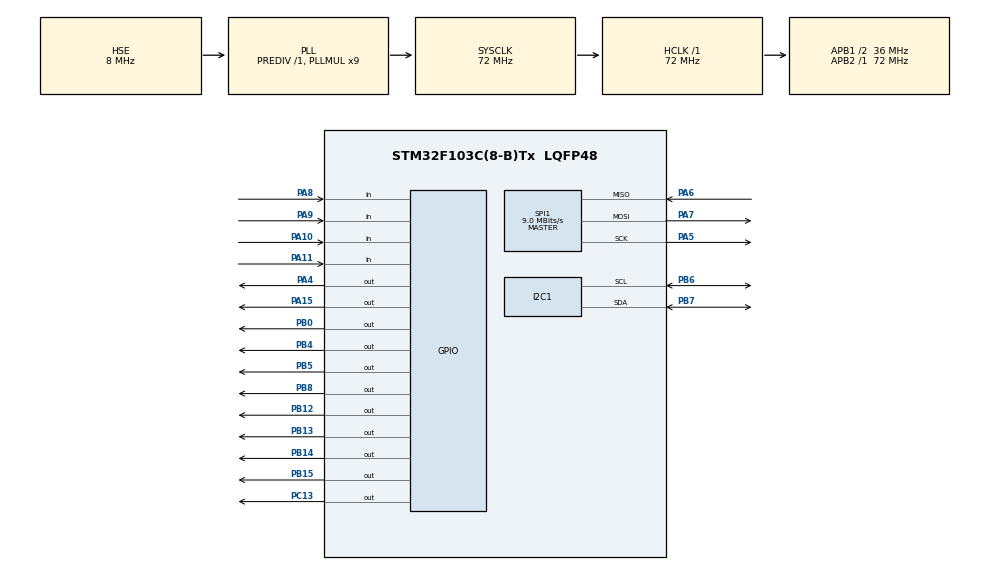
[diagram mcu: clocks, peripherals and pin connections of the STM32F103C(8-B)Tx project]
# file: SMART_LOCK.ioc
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I2C1.I2C_Mode=I2C_Fast
Mcu.Family=STM32F1
Mcu.Name=STM32F103C(8-B)Tx
Mcu.Package=LQFP48
NVIC.PriorityGroup=NVIC_PRIORITYGROUP_4
PA10.GPIO_PuPd=GPIO_PULLDOWN
PA10.Signal=GPIO_Input
PA11.GPIO_PuPd=GPIO_PULLDOWN
PA11.Signal=GPIO_Input
PA13.Mode=Serial_Wire
PA13.Signal=SYS_JTMS-SWDIO
PA14.Mode=Serial_Wire
PA14.Signal=SYS_JTCK-SWCLK
PA15.Signal=GPIO_Output
PA4.Signal=GPIO_Output
PA5.Mode=Full_Duplex_Master
PA5.Signal=SPI1_SCK
PA6.Mode=Full_Duplex_Master
PA6.Signal=SPI1_MISO
PA7.Mode=Full_Duplex_Master
PA7.Signal=SPI1_MOSI
PA8.GPIO_PuPd=GPIO_PULLDOWN
PA8.Signal=GPIO_Input
PA9.GPIO_PuPd=GPIO_PULLDOWN
PA9.Signal=GPIO_Input
PB0.Signal=GPIO_Output
PB12.Signal=GPIO_Output
PB13.Signal=GPIO_Output
PB14.Signal=GPIO_Output
PB15.Signal=GPIO_Output
PB4.Signal=GPIO_Output
PB5.Signal=GPIO_Output
PB6.Mode=I2C
PB6.Signal=I2C1_SCL
PB7.Mode=I2C
PB7.Signal=I2C1_SDA
PB8.Signal=GPIO_Output
PC13-TAMPER-RTC.Signal=GPIO_Output
PD0-OSC_IN.Mode=HSE-External-Oscillator
PD0-OSC_IN.Signal=RCC_OSC_IN
PD1-OSC_OUT.Mode=HSE-External-Oscillator
PD1-OSC_OUT.Signal=RCC_OSC_OUT
ProjectManager.HeapSize=0x200
ProjectManager.StackSize=0x400
ProjectManager.TargetToolchain=STM32CubeIDE
RCC.AHBFreq_Value=72000000
RCC.APB1CLKDivider=RCC_HCLK_DIV2
RCC.APB1Freq_Value=36000000
RCC.APB1TimFreq_Value=72000000
RCC.APB2Freq_Value=72000000
RCC.APB2TimFreq_Value=72000000
RCC.HCLKFreq_Value=72000000
RCC.PLLMUL=RCC_PLL_MUL9
RCC.PLLSourceVirtual=RCC_PLLSOURCE_HSE
RCC.SYSCLKFreq_VALUE=72000000
RCC.SYSCLKSource=RCC_SYSCLKSOURCE_PLLCLK
RCC.USBFreq_Value=72000000
SPI1.BaudRatePrescaler=SPI_BAUDRATEPRESCALER_8
SPI1.CalculateBaudRate=9.0 MBits/s
SPI1.Direction=SPI_DIRECTION_2LINES
SPI1.Mode=SPI_MODE_MASTER
SPI1.VirtualType=VM_MASTER
board=custom

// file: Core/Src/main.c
#include "main.h"

/* USER CODE BEGIN Includes */
#include "SH1106.h"
#include "fonts.h"
#include "stdio.h"
#include "bitmap.h"
#include "rcc522.h"
#include "string.h"

I2C_HandleTypeDef hi2c1;

SPI_HandleTypeDef hspi1;

/* USER CODE BEGIN PV */
uint8_t status;
uint8_t str[MAX_LEN]; // Max_LEN = 16
uint8_t sNum[5];
volatile uint32_t systickCounter = 0;
volatile uint8_t rfidDetected = 0; // 0: không có thẻ, 1: có thẻ

// Các phím trên bàn phím
char keypad[4][4] = {
    {'1', '2', '3', 'A'},
    {'4', '5', '6', 'B'},
    {'7', '8', '9', 'C'},
    {'E', '0', 'F', 'D'}
};

char key;
char enteredPassword[8] = {0};
char correctPassword[8] = "1234567";
int user = 0;

// Các chân hàng và cột của bàn phím
GPIO_TypeDef* rowPorts[4] = {GPIOB, GPIOB, GPIOB, GPIOB};
uint16_t rowPins[4] = {GPIO_PIN_15, GPIO_PIN_14, GPIO_PIN_13, GPIO_PIN_12};
GPIO_TypeDef* colPorts[4] = {GPIOA, GPIOA, GPIOA, GPIOA};
uint16_t colPins[4] = {GPIO_PIN_8, GPIO_PIN_9, GPIO_PIN_10, GPIO_PIN_11};

//Khai báo máy trạng thái
   typedef enum {Do_RFID, Do_Keypad, Idle_State} ChooseState_t;
   static ChooseState_t ChooseState = Idle_State;

/* USER CODE END PV */

void SystemClock_Config(void);
static void MX_GPIO_Init(void);
static void MX_I2C1_Init(void);
static void MX_SPI1_Init(void);
void SysTick_Init(void);
char Keypad_Scan(void);
void CheckRFID(void);
void ChooseStateMachineUpdate(void);
void SysTick_Start(void);

int main(void)
{

  /* MCU Configuration--------------------------------------------------------*/

  /* Reset of all peripherals, Initializes the Flash interface and the Systick. */
  HAL_Init();

  /* Configure the system clock */
  SystemClock_Config();

  /* USER CODE BEGIN SysInit */
  SysTick_Init();

  /* USER CODE END SysInit */

  /* Initialize all configured peripherals */
  MX_GPIO_Init();
  MX_I2C1_Init();
  MX_SPI1_Init();
  /* USER CODE BEGIN 2 */
  MFRC522_Init();
  SH1106_Init();

  /* USER CODE END 2 */

  /* Infinite loop */
  while (1)
  {
	  ChooseStateMachineUpdate();
  }
}

void CheckRFID(void) {
    uchar TagType[2];
    if (MFRC522_Request(PICC_REQIDL, TagType) == MI_OK) {
        rfidDetected = 1; // Có thẻ trong phạm vi
    } else {
        rfidDetected = 0; // Không có thẻ
    }
}

//Hàm xây dựng ngắt systick
void SysTick_Init(void)
{
    // Tính giá trị LOAD cho 1ms
    uint32_t ticks = SystemCoreClock / 1000; // 1ms
    if (ticks > SysTick_LOAD_RELOAD_Msk)
    {
        // Giá trị LOAD không hợp lệ
        Error_Handler();
    }

    // Ghi giá trị vào thanh ghi LOAD
    SysTick->LOAD = ticks - 1;

    // Reset giá trị hiện tại của bộ đếm
    SysTick->VAL = 0;

    // Cấu hình SysTick: nguồn clock, bật ngắt, và kích hoạt
    SysTick->CTRL = SysTick_CTRL_CLKSOURCE_Msk | // Sử dụng clock hệ thống
                    SysTick_CTRL_TICKINT_Msk;  // Bật ngắt SysTick
}

void SysTick_Start(void)
{
    // Kích hoạt bộ đếm SysTick
    SysTick->CTRL |= SysTick_CTRL_ENABLE_Msk;  // Bật bộ đếm SysTick
}

// Hàm xử lý ngắt SysTick (được gọi mỗi 1ms)
void SysTick_Handler(void)
{
    // Xử lý công việc cần thực hiện trong ngắt SysTick
    // Ví dụ: tăng biến đếm thời gian
    systickCounter++;
}

void ChooseStateMachineUpdate(void)
{
	switch (ChooseState)
	{
	case Do_RFID:
		  status = MFRC522_Request(PICC_REQIDL, str);
		  status = MFRC522_Anticoll(str);
		  memcpy(sNum, str, 5);
		  HAL_Delay(100);
		  if((str[0]==147) && (str[1]==32) && (str[2]==210) && (str[3]==38) && (str[4]==212) )
		   {
			 HAL_GPIO_WritePin(GPIOB, GPIO_PIN_5, SET);
			 systickCounter = 0;
			 HAL_GPIO_WritePin(GPIOA, GPIO_PIN_15, RESET); //LED xanh báo thẻ đúng
             SH1106_Fill(SH1106_COLOR_BLACK);
             SH1106_GotoXY(10, 10);
             SH1106_Puts("Card Valid!", &Font_11x18, SH1106_COLOR_WHITE);
             SH1106_UpdateScreen();
             HAL_Delay(1000);
		     HAL_GPIO_WritePin(GPIOA, GPIO_PIN_15, SET);
		     }
		   else if((str[0]==147) && (str[1]==32) && (str[2]==115) && (str[3]==110) && (str[4]==207) )
		    {
			 HAL_GPIO_WritePin(GPIOB, GPIO_PIN_5, SET);
			 systickCounter = 0;
			 HAL_GPIO_WritePin(GPIOA, GPIO_PIN_15, RESET); //LED xanh báo thẻ đúng
             SH1106_Fill(SH1106_COLOR_BLACK);
             SH1106_GotoXY(10, 10);
             SH1106_Puts("Card is Valid!", &Font_11x18, SH1106_COLOR_WHITE);
             SH1106_UpdateScreen();
		     HAL_Delay(1000);
		     HAL_GPIO_WritePin(GPIOA, GPIO_PIN_15, SET);
		   }
		   else if (rfidDetected)
		   {
			 HAL_GPIO_WritePin(GPIOB, GPIO_PIN_5, SET);
		     HAL_GPIO_WritePin(GPIOB, GPIO_PIN_4, RESET); //LED đỏ báo thẻ sai
             SH1106_Fill(SH1106_COLOR_BLACK);
             SH1106_GotoXY(10, 10);
             SH1106_Puts("Card is not Valid!", &Font_11x18, SH1106_COLOR_WHITE);
             SH1106_UpdateScreen();
		     HAL_Delay(1000);
		     HAL_GPIO_WritePin(GPIOB, GPIO_PIN_4, SET);
		  }
		   else
		   {
			   HAL_GPIO_WritePin(GPIOB, GPIO_PIN_5, RESET); //Led vàng báo nguồn
		   }
		  break;

	case Do_Keypad:
 	      key = Keypad_Scan();
	       if (key) {
	           if (user < 7) {
	               enteredPassword[user++] = key;
	               enteredPassword[user] = '\0'; // Cập nhật kết thúc chuỗi

	               // Hiển thị chuỗi nhập trên OLED
	               SH1106_Fill(SH1106_COLOR_BLACK);
	               SH1106_GotoXY(10, 10);
	               SH1106_Puts(enteredPassword, &Font_11x18, SH1106_COLOR_WHITE);
	               SH1106_UpdateScreen();
	               HAL_GPIO_WritePin(GPIOB, GPIO_PIN_5, RESET); //Led vàng báo nguồn
//	               HAL_Delay(200);

	           } else if (user == 6) {
	               // Kiểm tra mật khẩu
	               if (strcmp(enteredPassword, correctPassword) == 0) {
	            	   HAL_GPIO_WritePin(GPIOB, GPIO_PIN_5, SET);
	            	   HAL_GPIO_WritePin(GPIOA, GPIO_PIN_15, RESET); //LED xanh báo thẻ đúng
	            	   SH1106_Fill(SH1106_COLOR_BLACK);
	                   SH1106_GotoXY(10, 10);
	                   SH1106_Puts("Right Password", &Font_11x18, SH1106_COLOR_WHITE);
	                   SH1106_UpdateScreen();
	                   HAL_Delay(1000);
	                   HAL_GPIO_WritePin(GPIOA, GPIO_PIN_15, SET);
	               } else {
	            	   HAL_GPIO_WritePin(GPIOB, GPIO_PIN_5, SET);
	            	   HAL_GPIO_WritePin(GPIOB, GPIO_PIN_4, RESET); //LED đỏ báo thẻ sai
	                   SH1106_Fill(SH1106_COLOR_BLACK);
	                   SH1106_GotoXY(10, 10);
	                   SH1106_Puts("Wrong Password", &Font_11x18, SH1106_COLOR_WHITE);
	                   SH1106_UpdateScreen();
	                   HAL_Delay(1000);
	                   HAL_GPIO_WritePin(GPIOB, GPIO_PIN_4, SET);
	               }

	               // Reset trạng thái nhập mật khẩu
	               user = 0;
	               memset(enteredPassword, 0, sizeof(enteredPassword));

	               HAL_Delay(1000); // Đợi trước khi tiếp tục

	               // Xóa màn hình
	               SH1106_Fill(SH1106_COLOR_BLACK);
	               SH1106_UpdateScreen();
	           }
	       }
	       break;

	case Idle_State:
		  HAL_GPIO_WritePin(GPIOB, GPIO_PIN_5, RESET); //Led vàng báo nguồn
		  SH1106_Fill(SH1106_COLOR_BLACK);
		  SH1106_DrawBitmap(2, 0, LOGO_BW_map, 128, 49 , 1);  // 132x64, so leave 2 from both sides, draw from 0,0
		  SH1106_UpdateScreen();
		  break;
	}

	switch (ChooseState)
	{
	case Do_RFID:
		  SysTick_Start(); //Start timer
		  CheckRFID();
	      key = Keypad_Scan();
	      if (key && systickCounter < 3000)
	      {
	    	  systickCounter = 0;//reset systick nêú có phím đang nhập
	    	  ChooseState = Do_Keypad;
	      }
	      else if (systickCounter >= 3000) // systickCounter >= 3000
		  {
	    	  ChooseState = Idle_State;
		  }
	      else
	      {
	    	  if (rfidDetected){
	    		  systickCounter = 0;//reset systick nêú có thẻ đang quẹt
	    	  }
	    	  ChooseState = Do_RFID;
	      }
	      break;

	case Do_Keypad:
		  SysTick_Start(); //Start timer
		  key = Keypad_Scan();
	      CheckRFID();
	      if (rfidDetected && systickCounter < 3000)
	      {
	    	  ChooseState = Do_RFID;
	    	  systickCounter = 0; //reset systick nêú có thẻ đang được quẹt
	      }
	      else if (systickCounter >= 3000) // systickCounter >= 3000
	      {
	    	  ChooseState = Idle_State;
	      }
	      else
	      {
	    	  if (key){
	    		  systickCounter = 0;//reset systick nêú có phím đang nhập
	    	  }
	    	  ChooseState = Do_Keypad;
	      }
	      break;

	case Idle_State:
		key = Keypad_Scan();
		CheckRFID();
		if (key)
		{
			ChooseState = Do_Keypad;
		}
		else if (rfidDetected)
		{
			ChooseState = Do_RFID;
		}
		else
		{
			ChooseState = Idle_State;
		}
		break;

	}
}

void SystemClock_Config(void)
{
  RCC_OscInitTypeDef RCC_OscInitStruct = {0};
  RCC_ClkInitTypeDef RCC_ClkInitStruct = {0};

  /** Initializes the RCC Oscillators according to the specified parameters
  * in the RCC_OscInitTypeDef structure.
  */
  RCC_OscInitStruct.OscillatorType = RCC_OSCILLATORTYPE_HSE;
  RCC_OscInitStruct.HSEState = RCC_HSE_ON;
  RCC_OscInitStruct.HSEPredivValue = RCC_HSE_PREDIV_DIV1;
  RCC_OscInitStruct.HSIState = RCC_HSI_ON;
  RCC_OscInitStruct.PLL.PLLState = RCC_PLL_ON;
  RCC_OscInitStruct.PLL.PLLSource = RCC_PLLSOURCE_HSE;
  RCC_OscInitStruct.PLL.PLLMUL = RCC_PLL_MUL9;
  if (HAL_RCC_OscConfig(&RCC_OscInitStruct) != HAL_OK)
  {
    Error_Handler();
  }

  /** Initializes the CPU, AHB and APB buses clocks
  */
  RCC_ClkInitStruct.ClockType = RCC_CLOCKTYPE_HCLK|RCC_CLOCKTYPE_SYSCLK
                              |RCC_CLOCKTYPE_PCLK1|RCC_CLOCKTYPE_PCLK2;
  RCC_ClkInitStruct.SYSCLKSource = RCC_SYSCLKSOURCE_PLLCLK;
  RCC_ClkInitStruct.AHBCLKDivider = RCC_SYSCLK_DIV1;
  RCC_ClkInitStruct.APB1CLKDivider = RCC_HCLK_DIV2;
  RCC_ClkInitStruct.APB2CLKDivider = RCC_HCLK_DIV1;

  if (HAL_RCC_ClockConfig(&RCC_ClkInitStruct, FLASH_LATENCY_2) != HAL_OK)
  {
    Error_Handler();
  }
}

static void MX_I2C1_Init(void)
{

  hi2c1.Instance = I2C1;
  hi2c1.Init.ClockSpeed = 400000;
  hi2c1.Init.DutyCycle = I2C_DUTYCYCLE_2;
  hi2c1.Init.OwnAddress1 = 0;
  hi2c1.Init.AddressingMode = I2C_ADDRESSINGMODE_7BIT;
  hi2c1.Init.DualAddressMode = I2C_DUALADDRESS_DISABLE;
  hi2c1.Init.OwnAddress2 = 0;
  hi2c1.Init.GeneralCallMode = I2C_GENERALCALL_DISABLE;
  hi2c1.Init.NoStretchMode = I2C_NOSTRETCH_DISABLE;
  if (HAL_I2C_Init(&hi2c1) != HAL_OK)
  {
    Error_Handler();
  }

}

static void MX_SPI1_Init(void)
{

  /* SPI1 parameter configuration*/
  hspi1.Instance = SPI1;
  hspi1.Init.Mode = SPI_MODE_MASTER;
  hspi1.Init.Direction = SPI_DIRECTION_2LINES;
  hspi1.Init.DataSize = SPI_DATASIZE_8BIT;
  hspi1.Init.CLKPolarity = SPI_POLARITY_LOW;
  hspi1.Init.CLKPhase = SPI_PHASE_1EDGE;
  hspi1.Init.NSS = SPI_NSS_SOFT;
  hspi1.Init.BaudRatePrescaler = SPI_BAUDRATEPRESCALER_8;
  hspi1.Init.FirstBit = SPI_FIRSTBIT_MSB;
  hspi1.Init.TIMode = SPI_TIMODE_DISABLE;
  hspi1.Init.CRCCalculation = SPI_CRCCALCULATION_DISABLE;
  hspi1.Init.CRCPolynomial = 10;
  if (HAL_SPI_Init(&hspi1) != HAL_OK)
  {
    Error_Handler();
  }

}

static void MX_GPIO_Init(void)
{
  GPIO_InitTypeDef GPIO_InitStruct = {0};

  /* GPIO Ports Clock Enable */
  __HAL_RCC_GPIOC_CLK_ENABLE();
  __HAL_RCC_GPIOD_CLK_ENABLE();
  __HAL_RCC_GPIOA_CLK_ENABLE();
  __HAL_RCC_GPIOB_CLK_ENABLE();

  /*Configure GPIO pin Output Level */
  HAL_GPIO_WritePin(GPIOC, GPIO_PIN_13, GPIO_PIN_RESET);

  /*Configure GPIO pin Output Level */
  HAL_GPIO_WritePin(GPIOA, GPIO_PIN_4|GPIO_PIN_15, GPIO_PIN_RESET);

  /*Configure GPIO pin Output Level */
  HAL_GPIO_WritePin(GPIOB, GPIO_PIN_0|GPIO_PIN_12|GPIO_PIN_13|GPIO_PIN_14
                          |GPIO_PIN_15|GPIO_PIN_4|GPIO_PIN_5|GPIO_PIN_8, GPIO_PIN_RESET);

  /*Configure GPIO pin : PC13 */
  GPIO_InitStruct.Pin = GPIO_PIN_13;
  GPIO_InitStruct.Mode = GPIO_MODE_OUTPUT_PP;
  GPIO_InitStruct.Pull = GPIO_NOPULL;
  GPIO_InitStruct.Speed = GPIO_SPEED_FREQ_LOW;
  HAL_GPIO_Init(GPIOC, &GPIO_InitStruct);

  /*Configure GPIO pins : PA4 PA15 */
  GPIO_InitStruct.Pin = GPIO_PIN_4|GPIO_PIN_15;
  GPIO_InitStruct.Mode = GPIO_MODE_OUTPUT_PP;
  GPIO_InitStruct.Pull = GPIO_NOPULL;
  GPIO_InitStruct.Speed = GPIO_SPEED_FREQ_LOW;
  HAL_GPIO_Init(GPIOA, &GPIO_InitStruct);

  /*Configure GPIO pins : PB0 PB12 PB13 PB14
                           PB15 PB4 PB5 PB8 */
  GPIO_InitStruct.Pin = GPIO_PIN_0|GPIO_PIN_12|GPIO_PIN_13|GPIO_PIN_14
                          |GPIO_PIN_15|GPIO_PIN_4|GPIO_PIN_5|GPIO_PIN_8;
  GPIO_InitStruct.Mode = GPIO_MODE_OUTPUT_PP;
  GPIO_InitStruct.Pull = GPIO_NOPULL;
  GPIO_InitStruct.Speed = GPIO_SPEED_FREQ_LOW;
  HAL_GPIO_Init(GPIOB, &GPIO_InitStruct);

  /*Configure GPIO pins : PA8 PA9 PA10 PA11 */
  GPIO_InitStruct.Pin = GPIO_PIN_8|GPIO_PIN_9|GPIO_PIN_10|GPIO_PIN_11;
  GPIO_InitStruct.Mode = GPIO_MODE_INPUT;
  GPIO_InitStruct.Pull = GPIO_PULLDOWN;
  HAL_GPIO_Init(GPIOA, &GPIO_InitStruct);

}

/* USER CODE BEGIN 4 */
char Keypad_Scan(void) {
    for (int row = 0; row < 4; row++) {
        // Đặt tất cả hàng LOW trước khi đặt hàng hiện tại lên HIGH
        for (int i = 0; i < 4; i++) {
            HAL_GPIO_WritePin(rowPorts[i], rowPins[i], GPIO_PIN_RESET);
        }

        // Đặt hàng hiện tại lên HIGH
        HAL_GPIO_WritePin(rowPorts[row], rowPins[row], GPIO_PIN_SET);

        // Kiểm tra từng cột
        for (int col = 0; col < 4; col++) {
        	for (uint8_t i = 0; i < 100; i++){ //Đọc 100 lần để chống rung phím
            if (HAL_GPIO_ReadPin(colPorts[col], colPins[col]) == GPIO_PIN_SET) {
            	//HAL_Delay(50);
                // Chờ cho đến khi nút được nhả ra
                while (HAL_GPIO_ReadPin(colPorts[col], colPins[col]) == GPIO_PIN_SET);

                // Khôi phục hàng về LOW trước khi thoát
                HAL_GPIO_WritePin(rowPorts[row], rowPins[row], GPIO_PIN_RESET);

                return keypad[row][col];
            }
        	}
        }

        // Khôi phục hàng về HIGH
        HAL_GPIO_WritePin(rowPorts[row], rowPins[row], GPIO_PIN_SET);
    }

    return 0; // Không có nút nào được nhấn
}
/* USER CODE END 4 */

void Error_Handler(void)
{
  __disable_irq();
  while (1)
  {
  }
}
